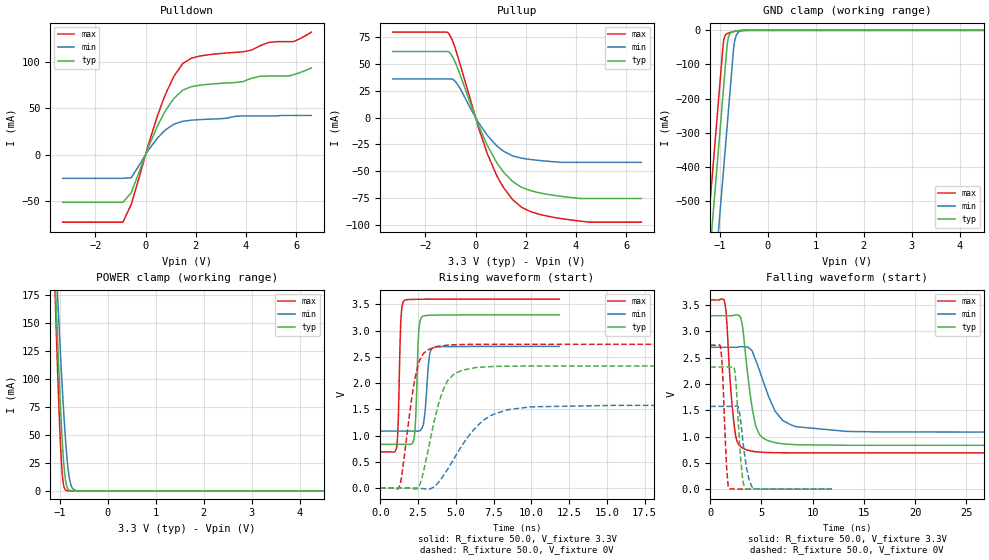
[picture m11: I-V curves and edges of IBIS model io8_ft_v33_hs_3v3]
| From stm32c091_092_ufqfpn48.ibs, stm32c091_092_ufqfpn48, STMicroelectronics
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[Model]   io8_ft_v33_hs_3v3
Model_type I/O
Polarity   Non-Inverting
Enable   Active-Low
| CAP_THRESHOLD on pad IOFT is "UDTCAPC" :
| Rising=30.0% of vddiom   Falling=70.0% of vddiom
| C_comp min and max val. don't necessarily correlate with the min and max pvt
| but are the smallest and greatest pad capacitance found.
| var   typ   min   max
C_comp   2.01849pF  1.96643pF  2.04093pF
|C_comp_pullup   1.18467pF  1.18756pF  1.15752pF
|C_comp_pulldown   833.82095fF  778.87300fF  883.41625fF
Vinl = 1.35V
Vinh = 1.8V
Vmeas = 1.65V   | Reference voltage for timing measurements
Cref  = 50.0pF   | Timing specification test load capacitance value
Rref  = 1.0MOhm   | Timing specification test load resistance value
Vref  = 1.815V   | Timing specification test load voltage
[Model Spec]
| TIME_THRESHOLD on pin ZIV33M is "CMOS" :
| Rising=50.0% of vddiom   Falling=50.0% of vddiom
Vinl 1.34770V 1.11370V 1.44970V
Vinh 1.77530V 1.49530V 1.90330V
| variable   typ   min   max
[Temperature Range] 25.0 125.0 -40.0
| variable   typ   min   max
[Voltage Range] 3.3V 2.7V 3.6V
| variable   typ   min   max
[POWER Clamp Reference] 3.3V 2.7V 3.6V
| variable   typ   min   max
[GND Clamp Reference] 0V 0V 0V
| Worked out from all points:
|   slope of the pulldown table from 0 to 0.495 V, typ, clamps not added: 15.4 ohm
|   slope of the pullup table from 0 to 0.495 V, typ, clamps not added: 18.2 ohm
|   GND clamp passes 1 mA (typ) near -0.60 V on its own axis
|   POWER clamp passes 1 mA (typ) near -0.81 V on its own axis
|   rising waveform, R_fixture 50.0, V_fixture 3.3V: 20-80 % time 173ps typ, 249ps min, 152ps max; typ from 0.835 V to 3.3 V
|   falling waveform, R_fixture 50.0, V_fixture 3.3V: 20-80 % time 988ps typ, 2.06ns min, 634ps max; typ from 3.3 V to 0.835 V
|   rising waveform, R_fixture 50.0, V_fixture 0V: 20-80 % time 1.18ns typ, 2.35ns min, 815ps max; typ from 0 V to 2.32 V
|   falling waveform, R_fixture 50.0, V_fixture 0V: 20-80 % time 460ps typ, 651ps min, 357ps max; typ from 2.33 V to 0 V
[POWER Clamp]
-3.3V     2.991A     2.543A     3.694A
-1.1V     191.1mA    222.7mA    177.1mA
-1.08V    169mA      204.2mA    149.9mA
-1.05V    136.9mA    176.9mA    110.9mA
-1.01V    96.55mA    141.6mA    64.02mA
-970mV    60.39mA    108.2mA    27.41mA
-930mV    31.08mA    77.43mA    7.282mA
-900mV    15.67mA    56.69mA    2.025mA
-860mV    4.779mA    33.42mA    315.2uA
-780mV    272.1uA    6.953mA    6.98uA
-670mV    4.467uA    374.2uA    36.58nA
6.6V      0A         0A         0A
[GND Clamp]
-3.3V     -4.209A    -4.449A    -4.067A
-1.25V    -724.3mA   -963.9mA   -582.3mA
-940mV    -197.3mA   -436.9mA   -55.31mA
-900mV    -129.3mA   -368.9mA   -18.05mA
-850mV    -45.25mA   -283.9mA   -9.777mA
-830mV    -25.62mA   -249.8mA   -8.529mA
-790mV    -10.15mA   -181.9mA   -6.665mA
-720mV    -3.762mA   -62.85mA   -4.025mA
-700mV    -3.047mA   -38.71mA   -3.371mA
-650mV    -1.786mA   -12.52mA   -1.967mA
-550mV    -403.5uA   -1.578mA   -350.4uA
6.6V      932.9pA    92.35nA    684.5pA
| variable   typ   min   max
[Pullup Reference] 3.3V 2.7V 3.6V
| variable   typ   min   max
[Pulldown Reference] 0V 0V 0V
[Pullup]
-3.3V     61.76mA    36.1mA     79.86mA
-1.07V    61.4mA     36.1mA     78.49mA
-890mV    55.55mA    35.52mA    70.12mA
-720mV    46.55mA    31.07mA    57.83mA
120mV     -7.358mA   -4.726mA   -9.588mA
460mV     -25.62mA   -16.31mA   -33.16mA
800mV     -40.27mA   -25.28mA   -51.87mA
1.12V     -50.97mA   -31.42mA   -65.49mA
1.83V     -65.01mA   -37.85mA   -83.65mA
2.51V     -70.03mA   -39.93mA   -90.06mA
3.88V     -74.77mA   -41.71mA   -95.78mA
6.6V      -75.45mA   -41.71mA   -97.6mA
[Pulldown]
-3.3V     -51.64mA   -25.66mA   -73.18mA
-900mV    -51.64mA   -25.66mA   -73.04mA
-570mV    -41.2mA    -25.04mA   -53.78mA
120mV     8.582mA    5.119mA    11.54mA
690mV     42.49mA    24.14mA    58.21mA
1.09V     59.44mA    32.3mA     82.71mA
1.48V     69.88mA    36.14mA    98.63mA
2.17V     75.22mA    37.94mA    106.8mA
3.88V     79.15mA    41.94mA    111.3mA
4.9V      85.07mA    41.94mA    121.4mA
5.88V     86.5mA     42.4mA     122.4mA
6.6V      93.9mA     42.4mA     132.7mA
[Ramp]
dV/dt_r 1.39468V/1.17506ns 945.08513mV/2.35162ns 1.643V/814.90071ps
dV/dt_f 1.47912V/987.60876ps 968.18305mV/2.0566ns 1.7461V/632.84635ps
R_load = 50.0
| Removed startup time: 0s 0s 0s  .
| Removed end time: 11.85ns.
[Rising Waveform]
R_fixture   = 50.0
V_fixture   = 3.3V
V_fixture_min = 2.7V
V_fixture_max = 3.6V
0s        834.9mV    1.087V     689.8mV
1.1ns     834.9mV    1.087V     803.6mV
1.2ns     834.9mV    1.087V     1.376V
1.35ns    834.9mV    1.087V     3.128V
1.6ns     834.9mV    1.087V     3.575V
2.25ns    976.8mV    1.086V     3.594V
2.55ns    3.004V     1.086V     3.596V
2.75ns    3.261V     1.134V     3.596V
3.45ns    3.293V     2.666V     3.598V
11.85ns   3.3V       2.7V       3.6V
| Removed startup time: 0s 0s 0s  .
| Removed end time: 149.875ns.
[Falling Waveform]
R_fixture   = 50.0
V_fixture   = 3.3V
V_fixture_min = 2.7V
V_fixture_max = 3.6V
0s        3.3V       2.7V       3.6V
1.4ns     3.3V       2.7V       3.562V
1.55ns    3.3V       2.7V       3.361V
1.95ns    3.3V       2.7V       2.034V
2.3ns     3.308V     2.7V       1.265V
2.95ns    3.276V     2.711V     811.5mV
4.425ns   1.207V     2.459V     710.8mV
7.075ns   862.4mV    1.306V     691.9mV
13.35ns   834.8mV    1.098V     689.8mV
149.9ns   834.8mV    1.086V     689.8mV
| Removed startup time: 0s 0s 0s  .
| Removed end time: 149.85ns.
[Rising Waveform]
R_fixture   = 50.0
V_fixture   = 0V
V_fixture_min = 0V
V_fixture_max = 0V
0s        369.9nV    466.2nV    1.396uV
1.2ns     -341.7nV   -422.9nV   -10.49mV
1.35ns    3.852uV    -591.6nV   116.4mV
2.15ns    -8.838mV   63.97uV    1.839V
2.55ns    29.55mV    -1.538mV   2.394V
3.85ns    1.593V     109.8mV    2.702V
4.55ns    2.076V     403.9mV    2.726V
6.9ns     2.307V     1.306V     2.738V
9.95ns    2.324V     1.548V     2.739V
149.9ns   2.324V     1.575V     2.738V
| Removed startup time: 0s 0s 0s  .
| Removed end time: 11.875ns.
[Falling Waveform]
R_fixture   = 50.0
V_fixture   = 0V
V_fixture_min = 0V
V_fixture_max = 0V
0s        2.325V     1.575V     2.739V
1.025ns   2.325V     1.575V     2.67V
1.2ns     2.325V     1.575V     2.218V
1.6ns     2.325V     1.575V     403.2mV
1.85ns    2.325V     1.575V     8.127mV
2.4ns     2.228V     1.576V     2.536mV
2.975ns   563.3mV    1.278V     1.556mV
3.375ns   14.75mV    625.6mV    1.049mV
4.45ns    1.535mV    3.71mV     570.9uV
11.88ns   -280.9uV   312.4uV    -135.7uV
